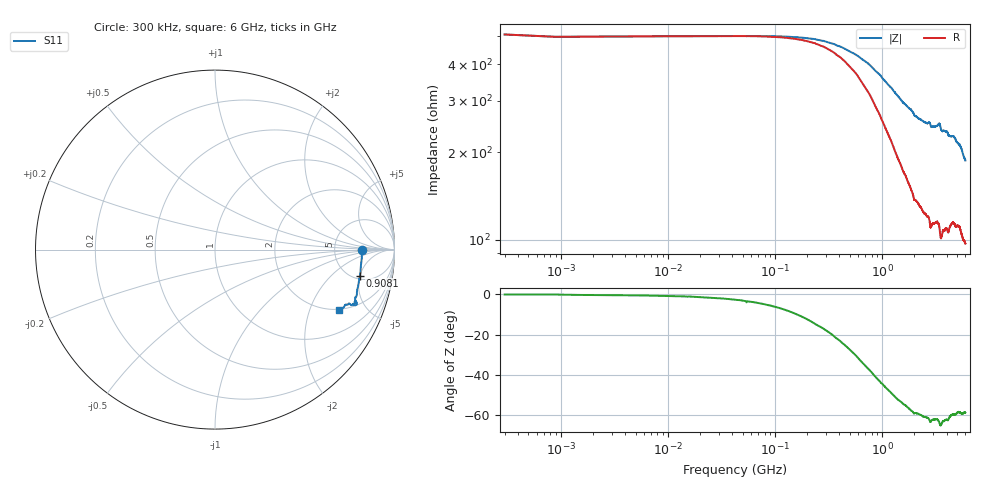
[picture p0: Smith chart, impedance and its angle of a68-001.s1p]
!  3/12/2021  10:30:41
! Ref Plane: 23.990 mm
# MHZ S MA R  50
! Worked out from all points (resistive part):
!   10001 points, 300 kHz to 6 GHz, reference 50 ohm
!   read as one part to ground: R = 499 ohm at 30.3 MHz
!   S11 on the Smith chart (normalised r, x): 300 kHz: 10, -0; 908.1 MHz: 5.55, -5.01; 6 GHz: 1.94, -3.20
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0.3  0.8198 -0.0
750.2625  0.8199 -8.7
908.0546  0.8206 -10.3
1320.234  0.8227 -14.0
1500.225  0.823 -15.3
2000  0.8291 -18.4
2250.188  0.8276 -19.1
2637.768  0.83 -20.0
2737.363  0.8342 -20.0
2798.56  0.8387 -20.3
2860.957  0.8354 -20.9
3000.15  0.8313 -20.7
3263.537  0.831 -20.5
3372.131  0.8374 -20.4
3472.326  0.8459 -20.8
3565.322  0.8415 -21.6
3663.717  0.8315 -21.7
3750.113  0.8308 -21.5
4032.098  0.8256 -21.5
4154.492  0.8211 -22.1
4344.083  0.81 -22.0
4500.075  0.8068 -21.8
4815.059  0.8029 -22.2
5052.047  0.7919 -22.8
5250.038  0.7891 -23.0
5532.623  0.786 -24.1
5805.61  0.7726 -25.5
6000  0.7676 -26.2
